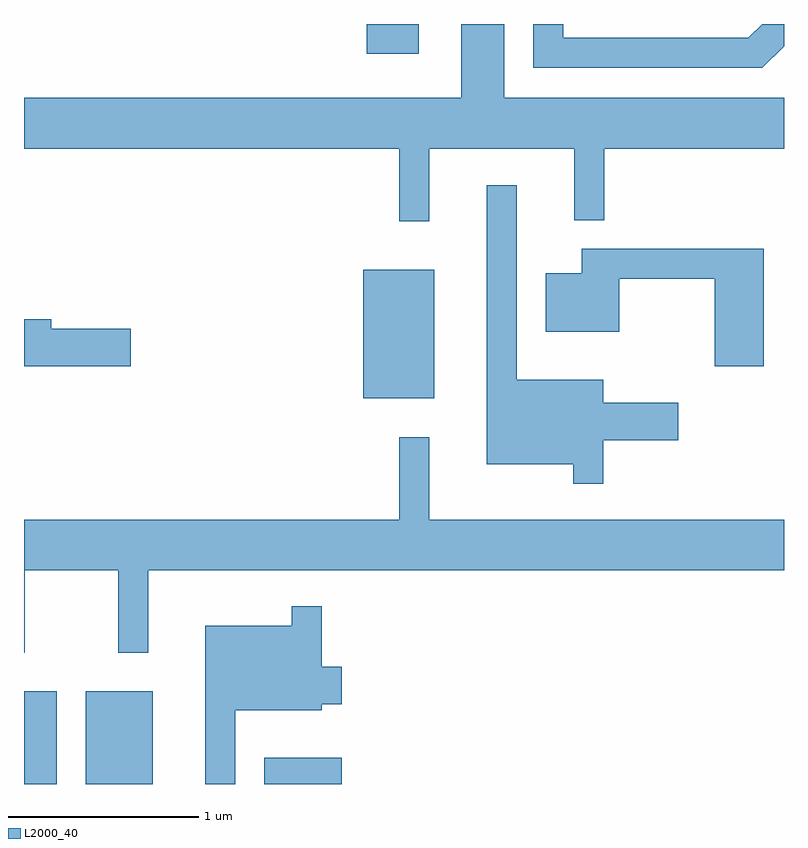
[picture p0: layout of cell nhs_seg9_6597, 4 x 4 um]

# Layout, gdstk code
import gdstk
lib = gdstk.Library(unit=1e-6, precision=1e-09)
def R(c, l, rs):  # rectangles x0, y0, x1, y1
    for r in rs: c.add(gdstk.rectangle(r[:2], r[2:], *l))
def P(c, l, *ps):  # polygons
    for p in ps: c.add(gdstk.Polygon(p, *l))
L2000_40 = (2000, 40)

nhs_seg9_6597 = lib.new_cell('nhs_seg9_6597')
R(nhs_seg9_6597, L2000_40, [(379.611,2028.432,379.784,2028.919), (379.936,2028.432,380.289,2028.919), (380.876,2028.432,381.284,2028.569), (381.396,2030.461,381.769,2031.139), (381.416,2032.276,381.688,2032.432)])
P(nhs_seg9_6597, L2000_40, [(381.744,2031.776),(382.506,2031.776),(382.506,2031.398),(382.664,2031.398),(382.664,2031.776),(383.611,2031.776),(383.611,2032.044),(382.139,2032.044),(382.139,2032.432),(381.911,2032.432),(381.911,2032.044),(379.611,2032.044),(379.611,2031.776),(381.586,2031.776),(381.586,2031.393),(381.744,2031.393)],
  [(383.611,2032.315),(383.611,2032.432),(383.497,2032.432),(383.424,2032.359),(382.449,2032.359),(382.449,2032.432),(382.291,2032.432),(382.291,2032.201),(383.497,2032.201)],
  [(382.659,2030.241),(383.054,2030.241),(383.054,2030.439),(382.659,2030.439),(382.659,2030.559),(382.204,2030.559),(382.204,2031.583),(382.046,2031.583),(382.046,2030.116),(382.501,2030.116),(382.501,2030.013),(382.659,2030.013)],
  [(383.504,2031.249),(382.546,2031.249),(382.546,2031.119),(382.356,2031.119),(382.356,2030.811),(382.744,2030.811),(382.744,2031.091),(383.246,2031.091),(383.246,2030.631),(383.504,2030.631)],
  [(380.174,2030.829),(379.754,2030.829),(379.754,2030.879),(379.611,2030.879),(379.611,2030.631),(380.174,2030.631)],
  [(379.614,2029.556),(380.106,2029.556),(380.106,2029.123),(380.264,2029.123),(380.264,2029.556),(383.611,2029.556),(383.611,2029.824),(381.744,2029.824),(381.744,2030.258),(381.586,2030.258),(381.586,2029.824),(379.611,2029.824),(379.611,2029.123),(379.614,2029.123)],
  [(380.724,2028.821),(381.179,2028.821),(381.179,2028.851),(381.284,2028.851),(381.284,2029.049),(381.179,2029.049),(381.179,2029.368),(381.021,2029.368),(381.021,2029.264),(380.566,2029.264),(380.566,2028.432),(380.724,2028.432)])

lib.write_gds('nhs_seg9_6597.gds')
